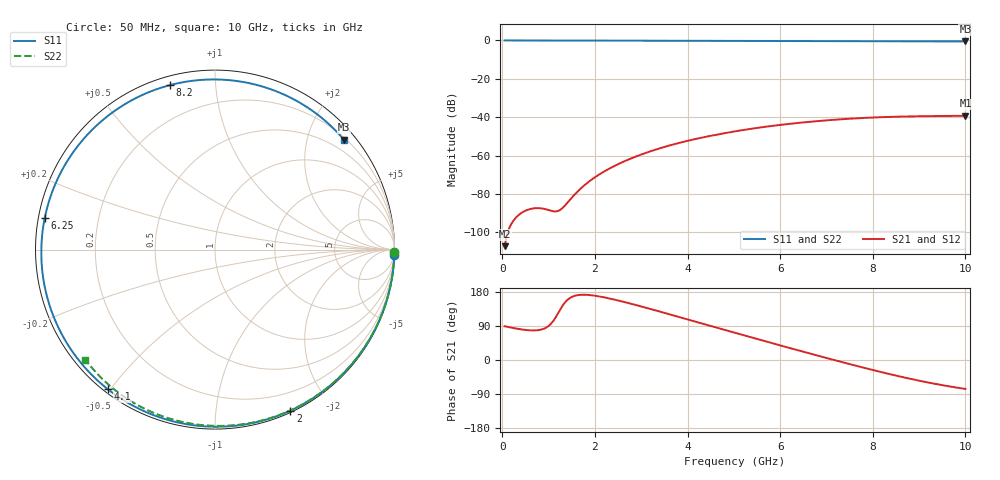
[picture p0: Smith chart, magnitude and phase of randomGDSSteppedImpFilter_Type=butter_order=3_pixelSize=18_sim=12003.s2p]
! freq	dB(S11)	phase(S11)	dB(S12)	phase(S12)
!  dB(S21)	phase(S21)	dB(S22)	phase(S22)
!S-par simulation data
#  GHz  S  DB  R 50
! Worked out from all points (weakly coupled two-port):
!   200 points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, 50 MHz to 10 GHz, reference 50 ohm
!   highest |S21| = -39.29 dB at 10 GHz (marker M1); lowest = -107.3 dB at 50 MHz (marker M2)
!   lowest |S11| = -0.5 dB at 10 GHz (marker M3), VSWR 34.55, Z = 12 + j135 ohm
!   |S11| at or under -10 dB: nowhere
!   |S22| runs from -0.5 to 0.0 dB; largest |S21 - S12| = 0
!   S11 on the Smith chart (normalised r, x): 50 MHz: 0, -68; 2 GHz: 0.02, -1.57; 4.1 GHz: 0.01, -0.49; 6.25 GHz: 0.02, +0.09; 8.2 GHz: 0.04, +0.76; 10 GHz: 0.24, +2.70
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0.05  -0.00 -1.7  -107.26 88.9  -107.26 88.9  -0.00 -0.8
0.75  -0.03 -24.9  -87.41 78.5  -87.41 78.5  -0.01 -12.1
1.55  -0.06 -50.8  -80.66 168.8  -80.66 168.8  -0.03 -24.8
1.75  -0.07 -57.1  -75.99 172.2  -75.99 172.2  -0.04 -27.9
2  -0.08 -64.9  -71.36 169.7  -71.36 169.7  -0.04 -31.8
2.6  -0.11 -83.3  -63.38 154.1  -63.38 154.1  -0.05 -41.0
3  -0.12 -95.3  -59.47 141.3  -59.47 141.3  -0.06 -47.1
3.4  -0.14 -107.1  -56.24 127.9  -56.24 127.9  -0.07 -53.0
4.1  -0.17 -127.5  -51.77 103.6  -51.77 103.6  -0.09 -63.3
4.6  -0.20 -141.9  -49.26 86.4  -49.26 86.4  -0.10 -70.4
5.05  -0.23 -154.9  -47.29 71.1  -47.29 71.1  -0.12 -76.7
5.65  -0.27 -172.4  -45.11 50.5  -45.11 50.5  -0.14 -84.9
6.25  -0.31 169.5  -43.35 30.1  -43.35 30.1  -0.17 -92.9
6.7  -0.35 155.5  -42.27 15.2  -42.27 15.2  -0.19 -98.7
7.4  -0.40 132.7  -40.96 -7.6  -40.96 -7.6  -0.23 -107.7
7.8  -0.42 119.2  -40.40 -20.3  -40.40 -20.3  -0.26 -112.7
8.2  -0.44 105.2  -39.99 -32.4  -39.99 -32.4  -0.29 -117.7
8.35  -0.45 99.9  -39.87 -36.8  -39.87 -36.8  -0.31 -119.5
8.75  -0.47 85.6  -39.62 -48.0  -39.62 -48.0  -0.34 -124.5
9.15  -0.48 71.1  -39.47 -58.3  -39.47 -58.3  -0.38 -129.3
9.55  -0.49 56.5  -39.37 -67.5  -39.37 -67.5  -0.42 -134.2
10  -0.50 40.4  -39.29 -76.3  -39.29 -76.3  -0.47 -139.7
